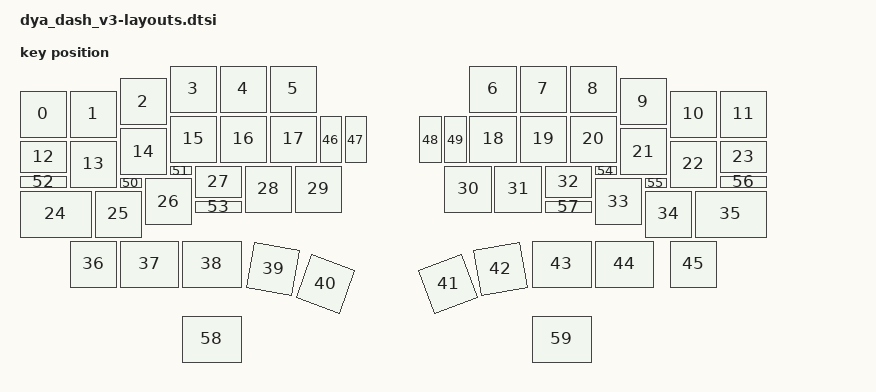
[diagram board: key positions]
#include <physical_layouts.dtsi>

/ {
	default_layout: default_layout {
		compatible = "zmk,physical-layout";
		display-name = "DYA Dash V3";
		kscan = <&kscan0>;
		transform = <&default_transform>;
		
		keys//                     w   h    x    y     rot    rx    ry
		= <&key_physical_attrs 100 100    0   50       0     0     0>
		, <&key_physical_attrs 100 100  100   50       0     0     0>
		, <&key_physical_attrs 100 100  200   25       0     0     0>
		, <&key_physical_attrs 100 100  300    0       0     0     0>
		, <&key_physical_attrs 100 100  400    0       0     0     0>
		, <&key_physical_attrs 100 100  500    0       0     0     0>
		, <&key_physical_attrs 100 100  900    0       0     0     0>
		, <&key_physical_attrs 100 100 1000    0       0     0     0>
		, <&key_physical_attrs 100 100 1100    0       0     0     0>
		, <&key_physical_attrs 100 100 1200   25       0     0     0>
		, <&key_physical_attrs 100 100 1300   50       0     0     0>
		, <&key_physical_attrs 100 100 1400   50       0     0     0>
		//
		, <&key_physical_attrs 100  70    0  150       0     0     0>
		, <&key_physical_attrs 100 100  100  150       0     0     0>
		, <&key_physical_attrs 100 100  200  125       0     0     0>
		, <&key_physical_attrs 100 100  300  100       0     0     0>
		, <&key_physical_attrs 100 100  400  100       0     0     0>
		, <&key_physical_attrs 100 100  500  100       0     0     0>
		, <&key_physical_attrs 100 100  900  100       0     0     0>
		, <&key_physical_attrs 100 100 1000  100       0     0     0>
		, <&key_physical_attrs 100 100 1100  100       0     0     0>
		, <&key_physical_attrs 100 100 1200  125       0     0     0>
		, <&key_physical_attrs 100 100 1300  150       0     0     0>
		, <&key_physical_attrs 100  70 1400  150       0     0     0>
		//
		, <&key_physical_attrs 150 100    0  250       0     0     0>
		, <&key_physical_attrs 100 100  150  250       0     0     0>
		, <&key_physical_attrs 100 100  250  225       0     0     0>
		, <&key_physical_attrs 100  70  350  200       0     0     0>
		, <&key_physical_attrs 100 100  450  200       0     0     0>
		, <&key_physical_attrs 100 100  550  200       0     0     0>
		, <&key_physical_attrs 100 100  850  200       0     0     0>
		, <&key_physical_attrs 100 100  950  200       0     0     0>
		, <&key_physical_attrs 100  70 1050  200       0     0     0>
		, <&key_physical_attrs 100 100 1150  225       0     0     0>
		, <&key_physical_attrs 100 100 1250  250       0     0     0>
		, <&key_physical_attrs 150 100 1350  250       0     0     0>
		//
		, <&key_physical_attrs 100 100  100  350       0     0     0>
		, <&key_physical_attrs 125 100  200  350       0     0     0>// switch module
		, <&key_physical_attrs 125 100  325  350       0     0     0>// switch module
		, <&key_physical_attrs 100 100  460  360    1000   510   410>
		, <&key_physical_attrs 100 100  565  390    2000   615   440>
		, <&key_physical_attrs 100 100  810  390 (-2000)   860   440>
		, <&key_physical_attrs 100 100  915  360 (-1000)   965   410>
		, <&key_physical_attrs 125 100 1025  350       0     0     0>// switch module
		, <&key_physical_attrs 125 100 1150  350       0     0     0>// switch module
		, <&key_physical_attrs 100 100  1300  350       0     0     0>
		// setting
		, <&key_physical_attrs  50 100  600  100       0     0     0>
		, <&key_physical_attrs  50 100  650  100       0     0     0>
		, <&key_physical_attrs  50 100  800  100       0     0     0>
		, <&key_physical_attrs  50 100  850  100       0     0     0>
		// Touch
		, <&key_physical_attrs  50  25  200  225       0     0     0>
		, <&key_physical_attrs  50  25  300  200       0     0     0>
		, <&key_physical_attrs 100  30    0  220       0     0     0>
		, <&key_physical_attrs 100  30  350  270       0     0     0>
		, <&key_physical_attrs  50  25 1150  200       0     0     0>
		, <&key_physical_attrs  50  25 1250  225       0     0     0>
		, <&key_physical_attrs 100  30 1400  220       0     0     0>
		, <&key_physical_attrs 100  30 1050  270       0     0     0>
		// Thumb Encoder module click
		, <&key_physical_attrs 125 100  325  500       0     0     0>
		, <&key_physical_attrs 125 100 1025  500       0     0     0>
		;
	};
};
